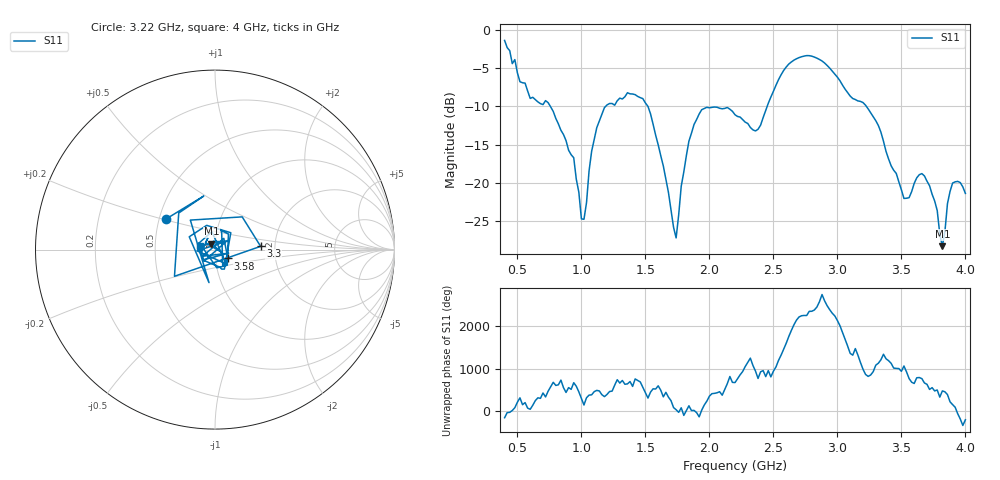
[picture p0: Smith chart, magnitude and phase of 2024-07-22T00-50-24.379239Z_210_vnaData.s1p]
!Created with skrf (http://scikit-rf.org).
# Hz S RI R 50.0
!freq ReS11 ImS11
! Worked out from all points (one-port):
!   181 points, 400 MHz to 4 GHz, reference 50 ohm
!   lowest |S11| = -28.3 dB at 3.82 GHz (marker M1), VSWR 1.08, Z = 47.9 + j3.14 ohm
!   |S11| at or under -10 dB: 757.7 MHz to 1.189 GHz (431.2 MHz wide, 44.3 % of centre); 1.52 GHz to 2.451 GHz (931.1 MHz wide, 46.9 % of centre); 3.227 GHz to end of sweep
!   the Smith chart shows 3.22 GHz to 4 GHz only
!   S11 on the Smith chart (normalised r, x): 3.22 GHz: 0.54, +0.21; 3.3 GHz: 1.68, +0.07; 3.58 GHz: 1.15, -0.11; 4 GHz: 0.85, +0.04
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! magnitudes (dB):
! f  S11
! 400 MHz  -1.3
! 600 MHz  -8.9
! 740 MHz  -9.5
! 860 MHz  -13.7
! 940 MHz  -16.7
! 1 GHz  -24.8
! 1.02 GHz  -24.8
! 1.12 GHz  -12.8
! 1.3 GHz  -8.9
! 1.52 GHz  -10.0
! 1.74 GHz  -27.3
! 1.76 GHz  -24.2
! 1.84 GHz  -14.5
! 1.92 GHz  -11.0
! 2.2 GHz  -11.1
! 2.38 GHz  -13.0
! 2.66 GHz  -3.9
! 2.88 GHz  -4.0
! 3.1 GHz  -8.6
! 3.22 GHz  -9.8
! 3.3 GHz  -11.9
! 3.56 GHz  -22.0
! 3.58 GHz  -21.2
! 3.68 GHz  -19.1
! 3.78 GHz  -23.7
! 3.82 GHz  -28.3
! 3.9 GHz  -20.1
! 4 GHz  -21.4
